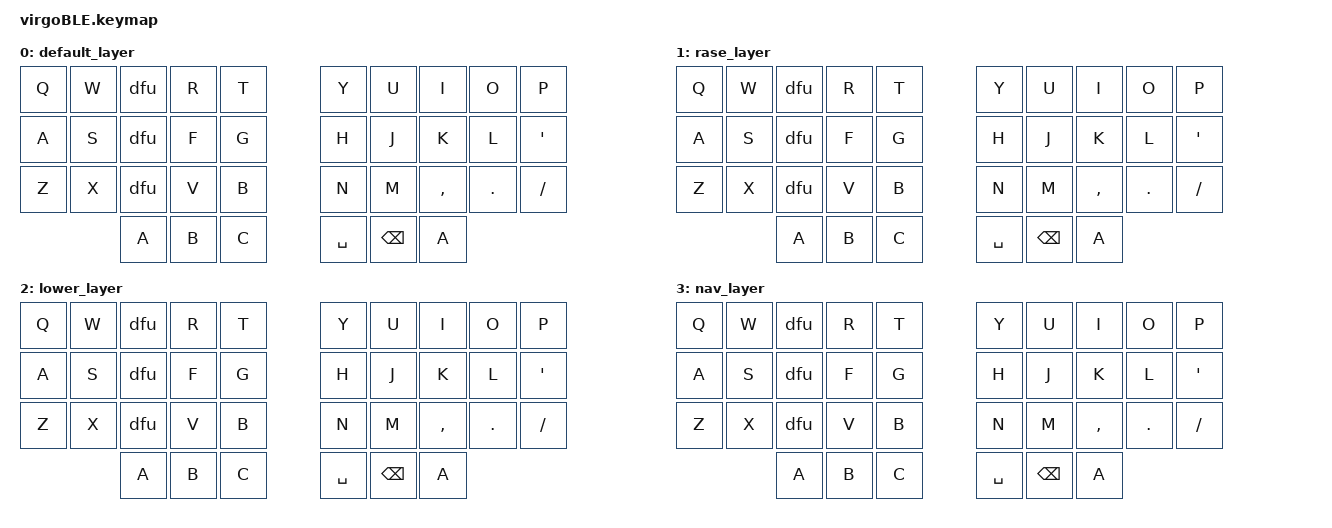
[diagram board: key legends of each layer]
/*
 * Copyright (c) 2020 The ZMK Contributors
 *
 * SPDX-License-Identifier: MIT
 */

#include <dt-bindings/zmk/keys.h>
#include <dt-bindings/zmk/bt.h>
#include <dt-bindings/zmk/outputs.h>
#include <behaviors.dtsi>
#include "dfu.dtsi"

/ {
    keymap {
        compatible = "zmk,keymap";

        default_layer {
            bindings = <
                &kp Q    &kp W    &dfu    &kp R    &kp T           &kp Y            &kp U          &kp I       &kp O      &kp P
                &kp A    &kp S    &dfu    &kp F    &kp G           &kp H            &kp J          &kp K       &kp L      &kp QUOT
                &kp Z    &kp X    &dfu    &kp V    &kp B           &kp N            &kp M          &kp COMMA   &kp DOT    &kp FSLH
                                  &kp A   &kp B    &kp C           &kp SPACE        &kp BKSP       &kp A
            >;
        };
        rase_layer {
            bindings = <
                &kp Q    &kp W    &dfu    &kp R    &kp T           &kp Y            &kp U          &kp I       &kp O      &kp P
                &kp A    &kp S    &dfu    &kp F    &kp G           &kp H            &kp J          &kp K       &kp L      &kp QUOT
                &kp Z    &kp X    &dfu    &kp V    &kp B           &kp N            &kp M          &kp COMMA   &kp DOT    &kp FSLH
                                  &kp A   &kp B    &kp C           &kp SPACE        &kp BKSP       &kp A
            >;
        };
        lower_layer {
            bindings = <
                &kp Q    &kp W    &dfu    &kp R    &kp T           &kp Y            &kp U          &kp I       &kp O      &kp P
                &kp A    &kp S    &dfu    &kp F    &kp G           &kp H            &kp J          &kp K       &kp L      &kp QUOT
                &kp Z    &kp X    &dfu    &kp V    &kp B           &kp N            &kp M          &kp COMMA   &kp DOT    &kp FSLH
                                  &kp A   &kp B    &kp C           &kp SPACE        &kp BKSP       &kp A
            >;
        };
        nav_layer {
            bindings = <
                &kp Q    &kp W    &dfu    &kp R    &kp T           &kp Y            &kp U          &kp I       &kp O      &kp P
                &kp A    &kp S    &dfu    &kp F    &kp G           &kp H            &kp J          &kp K       &kp L      &kp QUOT
                &kp Z    &kp X    &dfu    &kp V    &kp B           &kp N            &kp M          &kp COMMA   &kp DOT    &kp FSLH
                                  &kp A   &kp B    &kp C           &kp SPACE        &kp BKSP       &kp A
            >;
        };
   };
};
